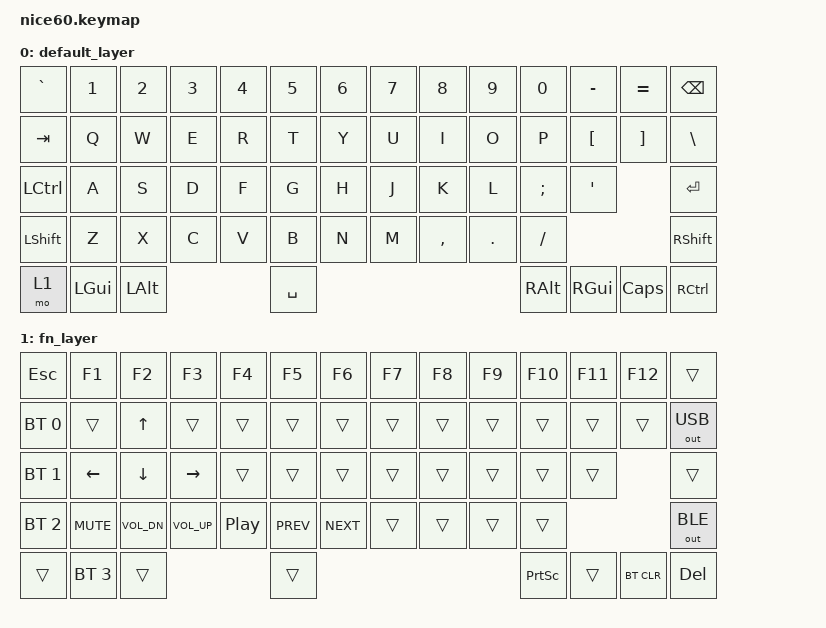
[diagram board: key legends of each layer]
/*
 * Copyright (c) 2021 Nick Winans
 *
 * SPDX-License-Identifier: MIT
 */

#include <behaviors.dtsi>
#include <dt-bindings/zmk/keys.h>
#include <dt-bindings/zmk/bt.h>
#include <dt-bindings/zmk/outputs.h>

&kscan0 {
  col-gpios
    = <&gpio1 15 GPIO_ACTIVE_HIGH>
    , <&gpio0 29 GPIO_ACTIVE_HIGH>
    , <&gpio0 31 GPIO_ACTIVE_HIGH>
    , <&gpio0 30 GPIO_ACTIVE_HIGH>
    , <&gpio0 28 GPIO_ACTIVE_HIGH>
    , <&gpio0 2  GPIO_ACTIVE_HIGH>
    , <&gpio0 21 GPIO_ACTIVE_HIGH>
    , <&gpio1 3  GPIO_ACTIVE_HIGH>
    , <&gpio1 7  GPIO_ACTIVE_HIGH>
    , <&gpio1 4  GPIO_ACTIVE_HIGH>
    , <&gpio1 6  GPIO_ACTIVE_HIGH>
    , <&gpio1 5  GPIO_ACTIVE_HIGH>
    , <&gpio1 1  GPIO_ACTIVE_HIGH>
    , <&gpio1 2  GPIO_ACTIVE_HIGH>
    ;
};

/ {
	keymap {
		compatible = "zmk,keymap";
		
		default_layer {
			bindings = <
        &kp GRAVE &kp N1   &kp N2 &kp N3 &kp N4 &kp N5 &kp N6 &kp N7 &kp N8    &kp N9   &kp N0   &kp MINUS &kp EQUAL &kp BSPC
        &kp TAB   &kp Q    &kp W  &kp E  &kp R  &kp T  &kp Y  &kp U  &kp I     &kp O    &kp P    &kp LBKT  &kp RBKT  &kp BSLH
        &kp LCTRL &kp A    &kp S  &kp D  &kp F  &kp G  &kp H  &kp J  &kp K     &kp L    &kp SEMI &kp SQT             &kp RET
        &kp LSHFT &kp Z    &kp X  &kp C  &kp V  &kp B  &kp N  &kp M  &kp COMMA &kp DOT  &kp FSLH                     &kp RSHFT
        &mo 1     &kp LGUI &kp LALT             &kp SPACE                               &kp RALT &kp RGUI  &kp CLCK  &kp RCTRL
			>;
		};

		fn_layer {
			bindings = <
        &kp ESC      &kp F1       &kp F2       &kp F3       &kp F4           &kp F5     &kp F6     &kp F7 &kp F8   &kp F9    &kp F10   &kp F11 &kp F12    &trans
        &bt BT_SEL 0 &trans       &kp UP       &trans       &trans           &trans     &trans     &trans &trans   &trans    &trans    &trans  &trans     &out OUT_USB 
        &bt BT_SEL 1 &kp LEFT     &kp DOWN     &kp RIGHT    &trans           &trans     &trans     &trans &trans   &trans    &trans    &trans             &trans
        &bt BT_SEL 2 &kp C_MUTE   &kp C_VOL_DN &kp C_VOL_UP &kp C_PLAY_PAUSE &kp C_PREV &kp C_NEXT &trans &trans   &trans    &trans                       &out OUT_BLE
        &trans       &bt BT_SEL 3 &trans                                     &trans                                          &kp PSCRN &trans  &bt BT_CLR &kp DEL
			>;
		};
	};
};
